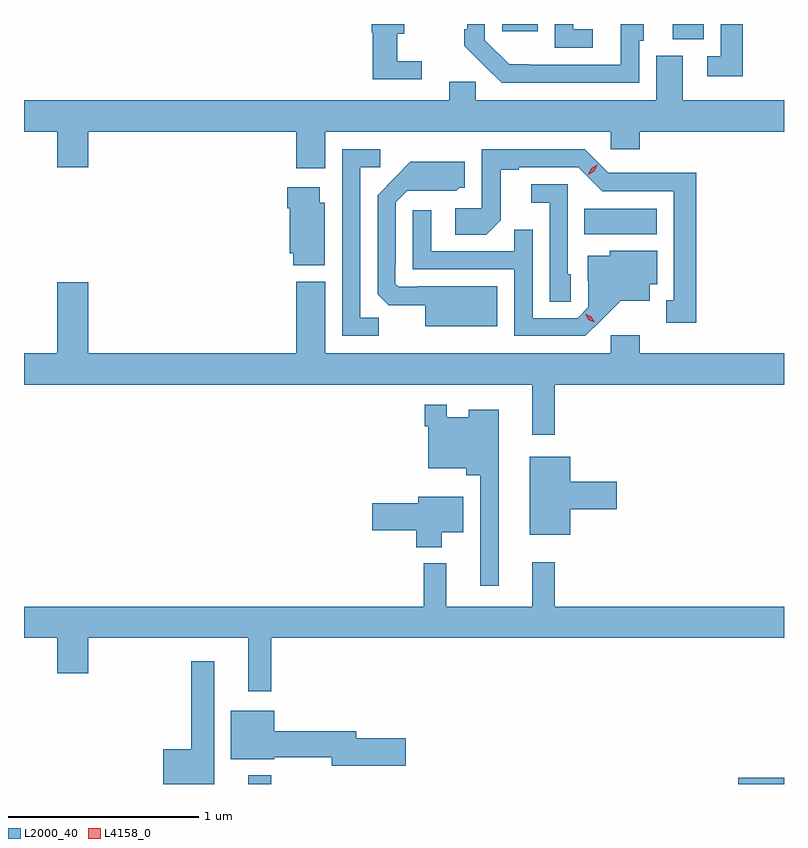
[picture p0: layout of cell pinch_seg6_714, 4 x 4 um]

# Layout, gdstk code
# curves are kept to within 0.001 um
import gdstk
lib = gdstk.Library(unit=1e-6, precision=1e-09)
def R(c, l, rs):  # rectangles x0, y0, x1, y1
    for r in rs: c.add(gdstk.rectangle(r[:2], r[2:], *l))
def P(c, l, *ps):  # polygons
    for p in ps: c.add(gdstk.Polygon(p, *l))
L2000_40 = (2000, 40)
L4158_0 = (4158, 0)

pinch_seg6_714 = lib.new_cell('pinch_seg6_714')
R(pinch_seg6_714, L2000_40, [(597.581,949.23,597.703,949.276), (600.161,949.23,600.402,949.262), (599.35,952.124,599.731,952.258), (599.816,953.149,599.98,953.23), (598.919,953.193,599.107,953.23)])
P(pinch_seg6_714, L2000_40, [(600.185,953.23),(600.069,953.23),(600.069,953.061),(599.997,953.061),(599.997,952.956),(600.185,952.956)],
  [(599.395,953.202),(599.292,953.202),(599.292,953.23),(599.196,953.23),(599.196,953.106),(599.395,953.106)],
  [(599.64,953.142),(599.665,953.142),(599.665,953.23),(599.543,953.23),(599.543,953.016),(598.956,953.017),(598.827,953.145),(598.827,953.23),(598.734,953.23),(598.734,953.203),(598.719,953.203),(598.719,953.115),(598.916,952.92),(599.64,952.92)],
  [(598.495,953.035),(598.366,953.035),(598.366,953.18),(598.402,953.18),(598.402,953.23),(598.232,953.23),(598.232,953.184),(598.237,953.184),(598.237,952.938),(598.495,952.938)],
  [(597.988,952.664),(599.49,952.664),(599.49,952.571),(599.642,952.571),(599.642,952.664),(600.402,952.664),(600.402,952.828),(599.869,952.828),(599.869,953.064),(599.729,953.064),(599.729,952.828),(598.779,952.828),(598.779,952.926),(598.64,952.926),(598.64,952.828),(596.402,952.828),(596.402,952.664),(596.576,952.664),(596.576,952.476),(596.74,952.476),(596.74,952.664),(597.836,952.664),(597.836,952.47),(597.988,952.47)],
  [(599.941,952.448),(599.7,952.448),(599.7,952.446),(599.478,952.446),(599.352,952.572),(598.812,952.572),(598.812,952.26),(598.671,952.26),(598.671,952.12),(598.835,952.12),(598.911,952.196),(598.911,952.464),(599.005,952.464),(599.005,952.476),(599.319,952.476),(599.445,952.35),(599.822,952.35),(599.822,951.777),(599.783,951.777),(599.783,951.657),(599.941,951.657)],
  [(598.269,951.683),(598.173,951.683),(598.173,952.476),(598.276,952.476),(598.276,952.572),(598.077,952.572),(598.077,951.588),(598.269,951.588)],
  [(598.894,951.85),(598.474,951.85),(598.474,951.846),(598.374,951.846),(598.356,951.864),(598.356,951.964),(598.359,951.964),(598.359,952.293),(598.419,952.353),(598.676,952.352),(598.692,952.368),(598.723,952.368),(598.723,952.504),(598.435,952.504),(598.263,952.33),(598.263,951.808),(598.322,951.749),(598.514,951.749),(598.514,951.638),(598.894,951.638)],
  [(599.28,951.912),(599.265,951.912),(599.265,952.386),(599.073,952.386),(599.073,952.289),(599.169,952.289),(599.169,951.769),(599.28,951.769)],
  [(597.985,952.29),(597.958,952.29),(597.958,952.372),(597.788,952.372),(597.788,952.259),(597.8,952.259),(597.8,952.023),(597.818,952.023),(597.818,951.959),(597.985,951.959)],
  [(599.44,951.671),(599.543,951.773),(599.695,951.773),(599.695,951.86),(599.734,951.86),(599.734,952.036),(599.484,952.036),(599.484,952.009),(599.369,952.009),(599.369,951.88),(599.373,951.88),(599.373,951.738),(599.316,951.681),(599.079,951.681),(599.079,952.148),(598.981,952.148),(598.981,952.035),(598.545,952.035),(598.545,952.249),(598.449,952.249),(598.449,951.939),(598.983,951.939),(598.983,951.588),(599.356,951.588)],
  [(599.195,951.332),(600.402,951.332),(600.402,951.496),(599.642,951.496),(599.642,951.592),(599.49,951.592),(599.49,951.496),(597.988,951.496),(597.988,951.874),(597.836,951.874),(597.836,951.496),(596.74,951.496),(596.74,951.871),(596.576,951.871),(596.576,951.496),(596.402,951.496),(596.402,951.332),(599.078,951.332),(599.078,951.069),(599.195,951.069)],
  [(598.9,951.199),(598.742,951.199),(598.742,951.16),(598.626,951.16),(598.626,951.226),(598.51,951.226),(598.51,951.113),(598.53,951.113),(598.53,950.891),(598.73,950.891),(598.73,950.855),(598.803,950.855),(598.803,950.274),(598.9,950.274)],
  [(599.278,950.675),(599.521,950.675),(599.521,950.822),(599.278,950.822),(599.278,950.953),(599.063,950.953),(599.063,950.543),(599.278,950.543)],
  [(598.6,950.555),(598.714,950.555),(598.714,950.743),(598.478,950.743),(598.478,950.708),(598.236,950.708),(598.236,950.566),(598.466,950.566),(598.466,950.477),(598.6,950.477)],
  [(597.703,950),(600.402,950),(600.402,950.164),(599.195,950.164),(599.195,950.398),(599.078,950.398),(599.078,950.164),(598.625,950.164),(598.625,950.392),(598.507,950.392),(598.507,950.164),(596.402,950.164),(596.402,950),(596.576,950),(596.576,949.812),(596.74,949.812),(596.74,950),(597.581,950),(597.581,949.719),(597.703,949.719)],
  [(597.403,949.876),(597.282,949.876),(597.282,949.414),(597.134,949.414),(597.134,949.23),(597.403,949.23)],
  [(598.411,949.472),(598.15,949.472),(598.15,949.508),(597.718,949.508),(597.718,949.615),(597.491,949.615),(597.491,949.361),(597.718,949.361),(597.718,949.372),(598.022,949.372),(598.022,949.325),(598.411,949.325)])
P(pinch_seg6_714, L4158_0, [(599.404,951.659),(599.373,951.674),(599.355,951.704),(599.355,951.704),(599.356,951.704),(599.387,951.689),(599.405,951.66),(599.405,951.659)],
  [(599.371,952.437),(599.371,952.437),(599.388,952.47),(599.42,952.489),(599.42,952.489),(599.42,952.489),(599.403,952.456),(599.371,952.437)])

lib.write_gds('pinch_seg6_714.gds')
